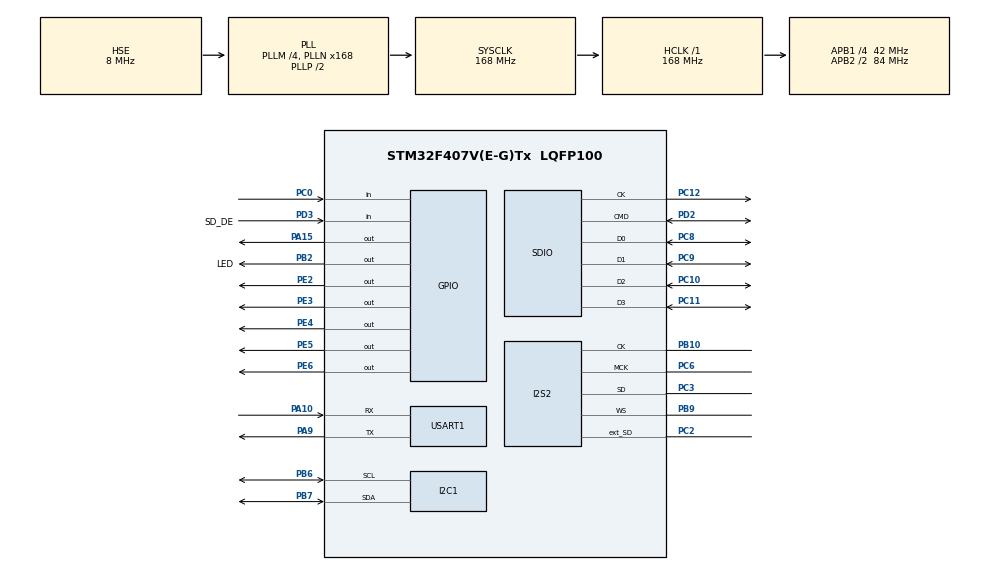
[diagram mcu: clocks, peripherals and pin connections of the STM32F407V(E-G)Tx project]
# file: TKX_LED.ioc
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Dma.Request0=SDIO
Dma.Request1=SPI2_TX
Dma.SDIO.0.Direction=DMA_PERIPH_TO_MEMORY
Dma.SDIO.0.FIFOMode=DMA_FIFOMODE_ENABLE
Dma.SDIO.0.FIFOThreshold=DMA_FIFO_THRESHOLD_FULL
Dma.SDIO.0.Instance=DMA2_Stream3
Dma.SDIO.0.MemBurst=DMA_MBURST_INC4
Dma.SDIO.0.MemDataAlignment=DMA_MDATAALIGN_WORD
Dma.SDIO.0.MemInc=DMA_MINC_ENABLE
Dma.SDIO.0.Mode=DMA_PFCTRL
Dma.SDIO.0.PeriphBurst=DMA_PBURST_INC4
Dma.SDIO.0.PeriphDataAlignment=DMA_PDATAALIGN_WORD
Dma.SDIO.0.PeriphInc=DMA_PINC_DISABLE
Dma.SDIO.0.Priority=DMA_PRIORITY_LOW
Dma.SPI2_TX.1.Direction=DMA_MEMORY_TO_PERIPH
Dma.SPI2_TX.1.FIFOMode=DMA_FIFOMODE_ENABLE
Dma.SPI2_TX.1.FIFOThreshold=DMA_FIFO_THRESHOLD_FULL
Dma.SPI2_TX.1.Instance=DMA1_Stream4
Dma.SPI2_TX.1.MemBurst=DMA_MBURST_INC8
Dma.SPI2_TX.1.MemDataAlignment=DMA_MDATAALIGN_HALFWORD
Dma.SPI2_TX.1.MemInc=DMA_MINC_ENABLE
Dma.SPI2_TX.1.Mode=DMA_CIRCULAR
Dma.SPI2_TX.1.PeriphBurst=DMA_PBURST_INC8
Dma.SPI2_TX.1.PeriphDataAlignment=DMA_PDATAALIGN_HALFWORD
Dma.SPI2_TX.1.PeriphInc=DMA_PINC_DISABLE
Dma.SPI2_TX.1.Priority=DMA_PRIORITY_LOW
FATFS.BSP.number=1
FATFS0.BSP.STBoard=false
FATFS0.BSP.api=Unknown
FATFS0.BSP.instance=PD3
FATFS0.BSP.ip=GPIO
FATFS0.BSP.mode=Input
FATFS0.BSP.name=Detect_SDIO
FATFS0.BSP.solution=PD3
FREERTOS.Tasks01=defaultTask,24,128,StartDefaultTask,Default,NULL,Dynamic,NULL,NULL
I2S2.AudioFreq=I2S_AUDIOFREQ_11K
I2S2.ErrorAudioFreq=0.21 %
I2S2.FullDuplexMode=I2S_FULLDUPLEXMODE_ENABLE
I2S2.Instance=SPI$Index
I2S2.RealAudioFreq=11.024 KHz
I2S2.VirtualMode=I2S_MODE_MASTER
Mcu.Family=STM32F4
Mcu.Name=STM32F407V(E-G)Tx
Mcu.Package=LQFP100
NVIC.DMA1_Stream4_IRQn=true\:5\:0\:false\:false\:true\:true\:false\:true\:true
NVIC.DMA2_Stream3_IRQn=true\:5\:0\:false\:false\:true\:true\:false\:true\:true
NVIC.PriorityGroup=NVIC_PRIORITYGROUP_4
NVIC.SDIO_IRQn=true\:5\:0\:false\:false\:true\:true\:true\:true\:true
PA10.Mode=Asynchronous
PA10.Signal=USART1_RX
PA13.Mode=Serial_Wire
PA13.Signal=SYS_JTMS-SWDIO
PA14.Mode=Serial_Wire
PA14.Signal=SYS_JTCK-SWCLK
PA15.Signal=GPIO_Output
PA9.Mode=Asynchronous
PA9.Signal=USART1_TX
PB10.Mode=Full_Duplex_Master
PB10.Signal=I2S2_CK
PB2.GPIO_Label=LED
PB2.GPIO_Speed=GPIO_SPEED_FREQ_LOW
PB2.PinState=GPIO_PIN_RESET
PB2.Signal=GPIO_Output
PB6.Mode=I2C
PB6.Signal=I2C1_SCL
PB7.Mode=I2C
PB7.Signal=I2C1_SDA
PB9.Mode=Full_Duplex_Master
PB9.Signal=I2S2_WS
PC0.Signal=GPIO_Input
PC10.Mode=SD_4_bits_Wide_bus
PC10.Signal=SDIO_D2
PC11.Mode=SD_4_bits_Wide_bus
PC11.Signal=SDIO_D3
PC12.Mode=SD_4_bits_Wide_bus
PC12.Signal=SDIO_CK
PC2.Mode=Full_Duplex_Master
PC2.Signal=I2S2_ext_SD
PC3.Mode=Full_Duplex_Master
PC3.Signal=I2S2_SD
PC6.Mode=Master_Clock_Activated
PC6.Signal=I2S2_MCK
PC8.Mode=SD_4_bits_Wide_bus
PC8.Signal=SDIO_D0
PC9.Mode=SD_4_bits_Wide_bus
PC9.Signal=SDIO_D1
PD2.Mode=SD_4_bits_Wide_bus
PD2.Signal=SDIO_CMD
PD3.GPIO_Label=SD_DE
PD3.Signal=GPIO_Input
PE2.GPIO_Speed=GPIO_SPEED_FREQ_VERY_HIGH
PE2.Signal=GPIO_Output
PE3.GPIO_Speed=GPIO_SPEED_FREQ_VERY_HIGH
PE3.Signal=GPIO_Output
PE4.GPIO_Speed=GPIO_SPEED_FREQ_VERY_HIGH
PE4.Signal=GPIO_Output
PE5.GPIO_Speed=GPIO_SPEED_FREQ_VERY_HIGH
PE5.Signal=GPIO_Output
PE6.GPIO_Speed=GPIO_SPEED_FREQ_VERY_HIGH
PE6.Signal=GPIO_Output
PH0-OSC_IN.Mode=HSE-External-Oscillator
PH0-OSC_IN.Signal=RCC_OSC_IN
PH1-OSC_OUT.Mode=HSE-External-Oscillator
PH1-OSC_OUT.Signal=RCC_OSC_OUT
ProjectManager.HeapSize=0x200
ProjectManager.StackSize=0x400
ProjectManager.TargetToolchain=MDK-ARM V5.32
RCC.48MHZClocksFreq_Value=48000000
RCC.AHBFreq_Value=168000000
RCC.APB1CLKDivider=RCC_HCLK_DIV4
RCC.APB1Freq_Value=42000000
RCC.APB1TimFreq_Value=84000000
RCC.APB2CLKDivider=RCC_HCLK_DIV2
RCC.APB2Freq_Value=84000000
RCC.APB2TimFreq_Value=168000000
RCC.CortexFreq_Value=168000000
RCC.HCLKFreq_Value=168000000
RCC.HSE_VALUE=8000000
RCC.HSI_VALUE=16000000
RCC.LSE_VALUE=32768
RCC.PLLI2SN=429
RCC.PLLI2SR=4
RCC.PLLM=8
RCC.PLLN=336
RCC.PLLQ=7
RCC.PLLSourceVirtual=RCC_PLLSOURCE_HSE
RCC.SYSCLKFreq_VALUE=168000000
RCC.SYSCLKSource=RCC_SYSCLKSOURCE_PLLCLK
RCC.VCOOutputFreq_Value=336000000
SDIO.ClockDiv=1
USART1.VirtualMode=VM_ASYNC
VP_FATFS_VS_SDIO.Mode=SDIO
VP_FREERTOS_VS_CMSIS_V2.Mode=CMSIS_V2
board=custom

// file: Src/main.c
/* USER CODE BEGIN Header */
/**
  ******************************************************************************
  * @file           : main.c
  * @brief          : Main program body
  ******************************************************************************
  * @attention
  *
  * Copyright (c) 2025 STMicroelectronics.
  * All rights reserved.
  *
  * This software is licensed under terms that can be found in the LICENSE file
  * in the root directory of this software component.
  * If no LICENSE file comes with this software, it is provided AS-IS.
  *
  ******************************************************************************
  */
/* USER CODE END Header */
#include "main.h"
#include "cmsis_os.h"
#include "dma.h"
#include "fatfs.h"
#include "i2c.h"
#include "i2s.h"
#include "sdio.h"
#include "usart.h"
#include "gpio.h"

void SystemClock_Config(void);
void MX_FREERTOS_Init(void);

int main(void)
{

  /* MCU Configuration--------------------------------------------------------*/

  /* Reset of all peripherals, Initializes the Flash interface and the Systick. */
  HAL_Init();

  /* Configure the system clock */
  SystemClock_Config();

  /* Initialize all configured peripherals */
  MX_GPIO_Init();
  MX_DMA_Init();
  MX_USART1_UART_Init();
  MX_SDIO_SD_Init();
  MX_FATFS_Init();
  MX_I2C1_Init();
  MX_I2S2_Init();

  /* Init scheduler */
  osKernelInitialize();

  /* Call init function for freertos objects (in cmsis_os2.c) */
  MX_FREERTOS_Init();

  /* Start scheduler */
  osKernelStart();

  /* We should never get here as control is now taken by the scheduler */

  /* Infinite loop */
  while (1)
  {

  }
}

void SystemClock_Config(void)
{
  RCC_OscInitTypeDef RCC_OscInitStruct = {0};
  RCC_ClkInitTypeDef RCC_ClkInitStruct = {0};

  /** Configure the main internal regulator output voltage
  */
  __HAL_RCC_PWR_CLK_ENABLE();
  __HAL_PWR_VOLTAGESCALING_CONFIG(PWR_REGULATOR_VOLTAGE_SCALE1);

  /** Initializes the RCC Oscillators according to the specified parameters
  * in the RCC_OscInitTypeDef structure.
  */
  RCC_OscInitStruct.OscillatorType = RCC_OSCILLATORTYPE_HSE;
  RCC_OscInitStruct.HSEState = RCC_HSE_ON;
  RCC_OscInitStruct.PLL.PLLState = RCC_PLL_ON;
  RCC_OscInitStruct.PLL.PLLSource = RCC_PLLSOURCE_HSE;
  RCC_OscInitStruct.PLL.PLLM = 4;
  RCC_OscInitStruct.PLL.PLLN = 168;
  RCC_OscInitStruct.PLL.PLLP = RCC_PLLP_DIV2;
  RCC_OscInitStruct.PLL.PLLQ = 7;
  if (HAL_RCC_OscConfig(&RCC_OscInitStruct) != HAL_OK)
  {
    Error_Handler();
  }

  /** Initializes the CPU, AHB and APB buses clocks
  */
  RCC_ClkInitStruct.ClockType = RCC_CLOCKTYPE_HCLK|RCC_CLOCKTYPE_SYSCLK
                              |RCC_CLOCKTYPE_PCLK1|RCC_CLOCKTYPE_PCLK2;
  RCC_ClkInitStruct.SYSCLKSource = RCC_SYSCLKSOURCE_PLLCLK;
  RCC_ClkInitStruct.AHBCLKDivider = RCC_SYSCLK_DIV1;
  RCC_ClkInitStruct.APB1CLKDivider = RCC_HCLK_DIV4;
  RCC_ClkInitStruct.APB2CLKDivider = RCC_HCLK_DIV2;

  if (HAL_RCC_ClockConfig(&RCC_ClkInitStruct, FLASH_LATENCY_5) != HAL_OK)
  {
    Error_Handler();
  }
}

void Error_Handler(void)
{
  __disable_irq();
  while (1)
  {
  }
}

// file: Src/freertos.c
/* USER CODE BEGIN Header */
/**
  ******************************************************************************
  * File Name          : freertos.c
  * Description        : Code for freertos applications
  ******************************************************************************
  * @attention
  *
  * Copyright (c) 2025 STMicroelectronics.
  * All rights reserved.
  *
  * This software is licensed under terms that can be found in the LICENSE file
  * in the root directory of this software component.
  * If no LICENSE file comes with this software, it is provided AS-IS.
  *
  ******************************************************************************
  */
/* USER CODE END Header */

#include "FreeRTOS.h"
#include "task.h"
#include "main.h"
#include "cmsis_os.h"

/* USER CODE BEGIN Includes */
#include "74HC595.h"
#include "74HC165.h"

#include "fatfs.h"
/* USER CODE END Includes */

/* Definitions for defaultTask */
osThreadId_t defaultTaskHandle;
const osThreadAttr_t defaultTask_attributes = {
  .name = "defaultTask",
  .stack_size = 128 * 16,
  .priority = (osPriority_t) osPriorityNormal,
};

void StartDefaultTask(void *argument);

void MX_FREERTOS_Init(void); /* (MISRA C 2004 rule 8.1) */

void MX_FREERTOS_Init(void) {

  /* Create the thread(s) */
  /* creation of defaultTask */
  defaultTaskHandle = osThreadNew(StartDefaultTask, NULL, &defaultTask_attributes);

}

void StartDefaultTask(void *argument)
{
  /* USER CODE BEGIN StartDefaultTask */

  FATFS fs;
  FRESULT res;
  FIL file;
  UINT bytesWritten;
  char writeBuffer[64];
  char readBuffer[64] = {0};

  HC595_Init(); // Initialize the 74HC595
  HC165_Init(); // Initialize the 74HC165

  // Mount SD card
  res = f_mount(&fs, "0:", 1);
  if (res != FR_OK) {
    printf("SD card mount failed, error code: %d\n", res);
  } else {
    printf("SD card mounted successfully!\n");
  }

  es8388_init(); // Initialize the ES8388 codec

  /* Infinite loop */
  for(;;)
  {
    HAL_GPIO_TogglePin(LED_GPIO_Port, LED_Pin);
    HC595_ToggleIO(0);
    HC595_ToggleIO(1);
    HC595_ToggleIO(2);
    HC595_ToggleIO(3);
    osDelay(1000);
  }
  /* USER CODE END StartDefaultTask */
}
